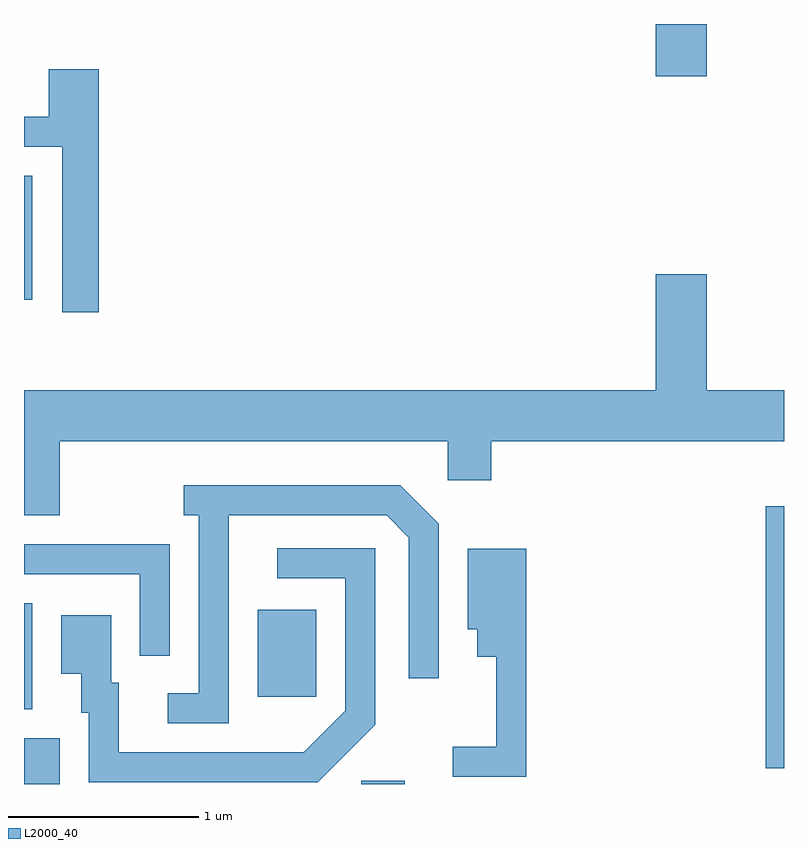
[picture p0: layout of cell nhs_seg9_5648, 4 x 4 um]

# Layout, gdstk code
import gdstk
lib = gdstk.Library(unit=1e-6, precision=1e-09)
def R(c, l, rs):  # rectangles x0, y0, x1, y1
    for r in rs: c.add(gdstk.rectangle(r[:2], r[2:], *l))
def P(c, l, *ps):  # polygons
    for p in ps: c.add(gdstk.Polygon(p, *l))
L2000_40 = (2000, 40)

nhs_seg9_5648 = lib.new_cell('nhs_seg9_5648')
R(nhs_seg9_5648, L2000_40, [(351.611,2014.432,351.799,2014.674), (353.386,2014.432,353.614,2014.449), (355.516,2014.516,355.611,2015.894), (351.611,2014.826,351.654,2015.384), (352.841,2014.891,353.149,2015.349), (351.611,2016.981,351.654,2017.634), (354.936,2018.156,355.204,2018.432)])
P(nhs_seg9_5648, L2000_40, [(352.004,2018.194),(351.741,2018.194),(351.741,2017.944),(351.611,2017.944),(351.611,2017.786),(351.811,2017.786),(351.811,2016.916),(352.004,2016.916)],
  [(351.799,2016.236),(353.841,2016.236),(353.841,2016.031),(354.069,2016.031),(354.069,2016.236),(355.611,2016.236),(355.611,2016.504),(355.204,2016.504),(355.204,2017.114),(354.936,2017.114),(354.936,2016.504),(351.611,2016.504),(351.611,2015.846),(351.799,2015.846)],
  [(352.689,2015.846),(353.519,2015.846),(353.636,2015.729),(353.636,2014.988),(353.794,2014.988),(353.794,2015.802),(353.592,2016.004),(352.453,2016.004),(352.453,2015.846),(352.531,2015.846),(352.531,2014.909),(352.368,2014.909),(352.368,2014.751),(352.689,2014.751)],
  [(352.379,2015.694),(351.611,2015.694),(351.611,2015.536),(352.221,2015.536),(352.221,2015.108),(352.379,2015.108)],
  [(353.459,2014.744),(353.459,2015.674),(352.943,2015.674),(352.943,2015.516),(353.301,2015.516),(353.301,2014.817),(353.084,2014.599),(352.109,2014.599),(352.109,2014.964),(352.069,2014.964),(352.069,2015.319),(351.806,2015.319),(351.806,2015.011),(351.911,2015.011),(351.911,2014.806),(351.951,2014.806),(351.951,2014.441),(353.157,2014.441)],
  [(354.254,2015.669),(353.946,2015.669),(353.946,2015.246),(353.996,2015.246),(353.996,2015.101),(354.096,2015.101),(354.096,2014.629),(353.868,2014.629),(353.868,2014.471),(354.254,2014.471)])

lib.write_gds('nhs_seg9_5648.gds')
